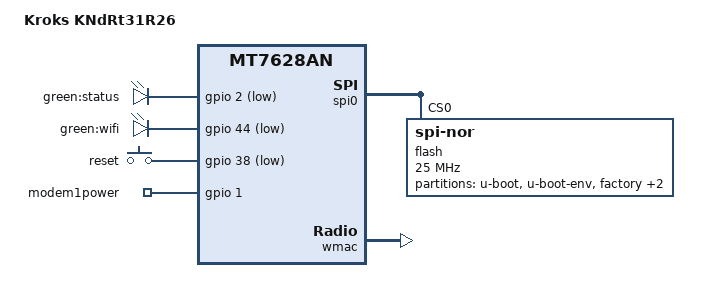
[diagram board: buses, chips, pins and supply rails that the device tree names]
// SPDX-License-Identifier: GPL-2.0-or-later OR MIT

#include "mt7628an.dtsi"

#include <dt-bindings/input/input.h>
#include <dt-bindings/gpio/gpio.h>

/ {
	compatible = "kroks,kndrt31r26", "mediatek,mt7628an-soc";
	model = "Kroks KNdRt31R26";

	aliases {
		led-boot = &led_status;
		led-failsafe = &led_status;
		led-running = &led_status;
		led-upgrade = &led_status;
	};

	leds {
		compatible = "gpio-leds";

		led_status: status {
			label = "green:status";
			gpios = <&gpio 2 GPIO_ACTIVE_LOW>;
		};

		wifi {
			label = "green:wifi";
			gpios = <&gpio 44 GPIO_ACTIVE_LOW>;
			linux,default-trigger = "phy0tpt";
		};
	};

	keys {
		compatible = "gpio-keys";

		reset {
			label = "reset";
			gpios = <&gpio 38 GPIO_ACTIVE_LOW>;
			linux,code = <KEY_RESTART>;
		};
	};

	gpio_export {
		compatible = "gpio-export";
		#size-cells = <0>;

		modem1power {
			gpio-export,name = "modem1power";
			gpio-export,output = <1>;
			gpios = <&gpio 1 GPIO_ACTIVE_HIGH>;
		};
	};
};

&spi0 {
	status = "okay";

	flash@0 {
		compatible = "jedec,spi-nor";
		reg = <0>;
		spi-max-frequency = <25000000>;
		broken-flash-reset;
		m25p,fast-read;

		partitions: partitions {
			compatible = "fixed-partitions";
			#address-cells = <1>;
			#size-cells = <1>;

			partition@0 {
				label = "u-boot";
				reg = <0x0 0x30000>;
				read-only;
			};

			partition@30000 {
				label = "u-boot-env";
				reg = <0x30000 0x10000>;
			};

			factory: partition@40000 {
				label = "factory";
				reg = <0x40000 0x10000>;
				read-only;
			};

			partition@50000 {
				compatible = "denx,uimage";
				label = "firmware";
				reg = <0x50000 0xeb0000>;
			};

			partition@f00000 {
				label = "memory";
				reg = <0xf00000 0x100000>;
			};
		};
	};
};

&esw {
	mediatek,led_source = <4>;
	mediatek,portmap = <0x2f>;
};

&ethernet {
	nvmem-cells = <&macaddr_factory_4>;
	nvmem-cell-names = "mac-address";
};

&wmac {
	status = "okay";
	mediatek,mtd-eeprom = <&factory 0x0000>;
};

&state_default {
	gpio {
		groups = "i2s", "wdt", "wled_an";
		function = "gpio";
	};

	p1led_an {
		groups = "p1led_an";
		function = "p1led_an";
	};

	p2led_an {
		groups = "p2led_an";
		function = "p2led_an";
	};

	p3led_an {
		groups = "p3led_an";
		function = "p3led_an";
	};

	p4led_an {
		groups = "p4led_an";
		function = "p4led_an";
	};
};

&factory {
	compatible = "nvmem-cells";
	#address-cells = <1>;
	#size-cells = <1>;

	macaddr_factory_4: macaddr@4 {
		reg = <0x4 0x6>;
	};
};
